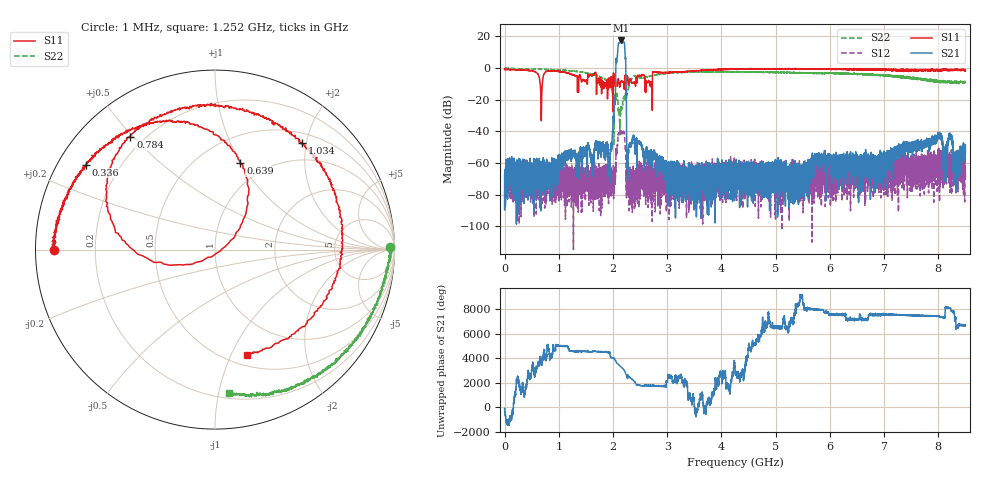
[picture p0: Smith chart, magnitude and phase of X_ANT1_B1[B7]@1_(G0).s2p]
#  HZ  S  RI  R  50.00
! Rohde & Schwarz Vector Network Analyzer
! Rohde-Schwarz,ZNBT8-20Port,1318700624101681,3.50
! Created: UTC 7/15/2025, 2:12:00 PM
! freq[Hz]  re:S1010  im:S1010  re:S0610  im:S0610  re:S1006  im:S1006  re:S66  im:S66
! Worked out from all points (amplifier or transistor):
!   8500 points, 1 MHz to 8.5 GHz, reference 50 ohm
!   highest |S21| = 17.4 dB at 2.144 GHz (marker M1)
!   |S21| within 3 dB of that: 2.095 GHz to 2.215 GHz (120 MHz wide, 5.57 % of centre)
!   unconditionally stable (mu >= 1): start of sweep to end of sweep
!   at 1.417 GHz: K = 4044434.44, MAG = -51.0 dB, |S12| = -91.3 dB
!   at 4.251 GHz: K = 208962.82, MAG = -53.4 dB, |S12| = -71.6 dB
!   at 8.5 GHz: K = 148890.17, MAG = -49.4 dB, |S12| = -65.2 dB
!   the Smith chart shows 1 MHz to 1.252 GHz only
!   S11 on the Smith chart (normalised r, x): 1 MHz: 0.06, -0.00; 336 MHz: 0.08, +0.30; 639 MHz: 0.77, +1.00; 784 MHz: 0.15, +0.49; 1.034 GHz: 0.67, +1.93; 1.252 GHz: 0.62, -1.15
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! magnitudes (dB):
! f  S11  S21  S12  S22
! 1 MHz  -1.0  -86.0  -67.2  -0.2
! 336 MHz  -1.3  -65.5  -62.3  -0.6
! 639 MHz  -6.0  -65.0  -66.2  -0.8
! 784 MHz  -2.1  -68.4  -66.3  -1.0
! 1.034 GHz  -2.3  -59.1  -70.4  -1.3
! 1.252 GHz  -4.3  -53.0  -67.8  -1.9
! 1.418 GHz  -8.3  -55.8  -66.0  -2.6
! 1.948 GHz  -10.2  -57.9  -70.4  -10.5
! 2.007 GHz  -3.1  -31.5  -61.8  -23.7
! 2.089 GHz  -8.7  11.8  -46.3  -20.3
! 2.144 GHz  -8.5  17.4  -40.4  -25.9
! 2.205 GHz  -11.7  16.1  -41.0  -18.1
! 2.293 GHz  -10.0  -49.3  -72.9  -11.9
! 2.834 GHz  -2.8  -59.9  -74.1  -4.1
! 4.251 GHz  -0.6  -65.9  -71.6  -2.6
! 5.667 GHz  -0.4  -58.6  -86.1  -3.3
! 7.084 GHz  -1.0  -55.4  -68.5  -5.1
! 8.02 GHz  -1.9  -42.0  -61.9  -8.0
! 8.123 GHz  -1.4  -57.3  -55.9  -9.0
! 8.229 GHz  -1.3  -42.4  -64.8  -8.9
! 8.315 GHz  -1.3  -58.5  -63.4  -9.0
! 8.5 GHz  -1.8  -54.6  -65.2  -9.2
